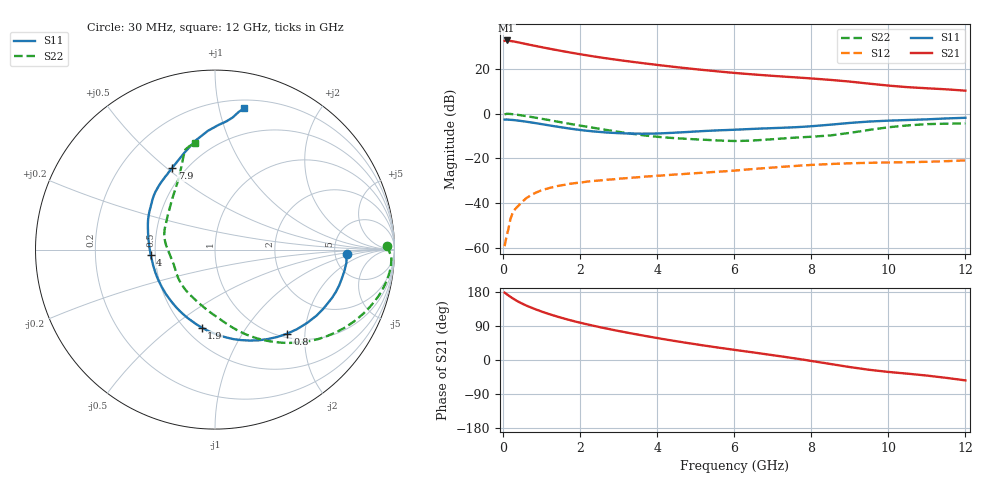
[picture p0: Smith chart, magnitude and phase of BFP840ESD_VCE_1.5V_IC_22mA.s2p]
! Infineon Technologies  Discrete & RF Semiconductors
! BFP840ESD
! VCE =  1.5 V,  IC =  22 mA
! Common Emitter S-Parameters:  May 2012
# GHz  S  MA  R  50
!  f  S11  S21  S12  S22
! GHz  MAG  ANG  MAG  ANG  MAG  ANG  MAG  ANG
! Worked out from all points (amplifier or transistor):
!   93 points, 30 MHz to 12 GHz, reference 50 ohm
!   highest |S21| = 32.6 dB at 80 MHz (marker M1)
!   |S21| within 3 dB of that: start of sweep to 992.7 MHz
!   unconditionally stable (mu >= 1): 4.721 GHz to 8.326 GHz
!   at 1.1 GHz: K = 0.42, MSG = 31.5 dB, |S12| = -33.7 dB
!   at 4.2 GHz: K = 0.96, MSG = 24.4 dB, |S12| = -27.5 dB
!   at 12 GHz: K = 0.75, MSG = 15.6 dB, |S12| = -20.9 dB
!   S11 on the Smith chart (normalised r, x): 30 MHz: 6.42, -0.75; 800 MHz: 1.08, -1.63; 1.9 GHz: 0.60, -0.65; 4 GHz: 0.47, -0.03; 7.9 GHz: 0.42, +0.52; 12 GHz: 0.27, +1.19
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0.03  0.7336 -2.1  41.85 177.7  0.0011 119.1  0.9584 1.3
0.08  0.7359 -5.7  42.7 173.9  0.0018 101.4  0.984 -2.4
0.28  0.7132 -19.4  40.36 160.2  0.007 80.6  0.9588 -13.6
0.43  0.6875 -28.6  38 151.6  0.0096 74.2  0.9204 -20.3
0.6  0.6564 -38.4  35.38 143.4  0.0131 69.3  0.8737 -27.1
0.8  0.6179 -49.2  32.63 135.1  0.0165 64.0  0.818 -34.2
1  0.579 -59.4  30.14 127.6  0.0195 59.3  0.763 -40.7
1.3  0.5252 -73.8  26.86 117.6  0.023 53.5  0.6847 -49.2
1.6  0.4791 -87.0  24.1 108.7  0.0258 49.7  0.6151 -56.9
1.9  0.4406 -99.7  21.71 100.7  0.0283 46.3  0.5552 -63.7
2.1  0.4191 -107.7  20.32 95.8  0.0297 44.7  0.5197 -67.9
2.5  0.389 -123.0  17.96 86.8  0.0321 41.6  0.4562 -75.8
2.9  0.369 -137.9  16.03 78.4  0.0344 39.8  0.4014 -83.7
3.4  0.3568 -155.4  14.06 68.7  0.0374 37.5  0.3483 -94.9
4  0.3595 -175.5  12.14 57.9  0.041 35.2  0.3029 -110.2
4.1  0.3616 -178.5  11.86 56.1  0.0413 34.8  0.2976 -113.0
5.1  0.4023 158.2  9.549 39.9  0.0473 31.3  0.2633 -138.5
6.1  0.4388 143.5  7.929 25.4  0.0542 28.4  0.2451 -162.3
7.9  0.5147 117.6  6.152 -0.9  0.0706 17.1  0.3008 159.5
8.5  0.5651 107.7  5.628 -10.6  0.0749 12.1  0.3253 143.9
10.5  0.7174 84.9  3.877 -36.1  0.082 -3.1  0.5433 109.0
12  0.8049 78.3  3.242 -53.8  0.0902 -10.7  0.6022 100.7
